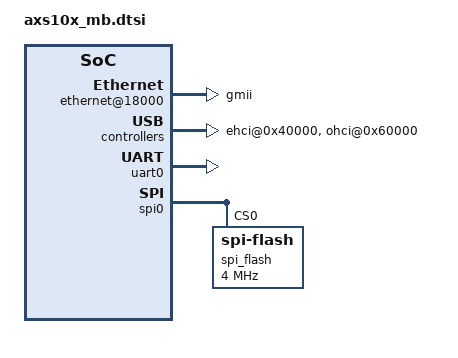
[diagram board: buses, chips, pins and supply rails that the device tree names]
// SPDX-License-Identifier: GPL-2.0+
/*
 * Copyright (C) 2017 Synopsys, Inc. All rights reserved.
 */

/ {
	aliases {
		spi0 = &spi0;
	};

	axs10x_mb@e0000000 {
		compatible = "simple-bus";
		#address-cells = <1>;
		#size-cells = <1>;
		ranges = <0x00000000 0xe0000000 0x10000000>;
		u-boot,dm-pre-reloc;

		clocks {
			compatible = "simple-bus";
			u-boot,dm-pre-reloc;

			apbclk: apbclk {
				compatible = "fixed-clock";
				clock-frequency = <50000000>;
				#clock-cells = <0>;
			};

			uartclk: uartclk {
				compatible = "fixed-clock";
				clock-frequency = <33333333>;
				#clock-cells = <0>;
				u-boot,dm-pre-reloc;
			};
		};

		ethernet@18000 {
			compatible = "altr,socfpga-stmmac";
			reg = < 0x18000 0x2000 >;
			phy-mode = "gmii";
			snps,pbl = < 32 >;
			clocks = <&apbclk>;
			clock-names = "stmmaceth";
			max-speed = <100>;
		};

		ehci@0x40000 {
			compatible = "generic-ehci";
			reg = < 0x40000 0x100 >;
		};

		ohci@0x60000 {
			compatible = "generic-ohci";
			reg = < 0x60000 0x100 >;
		};

		uart0: serial0@22000 {
			compatible = "snps,dw-apb-uart";
			reg = <0x22000 0x100>;
			clocks = <&uartclk>;
			reg-shift = <2>;
			reg-io-width = <4>;
		};

		spi0: spi@0 {
			compatible = "snps,dw-apb-ssi";
			reg = <0x0 0x100>;
			#address-cells = <1>;
			#size-cells = <0>;
			spi-max-frequency = <4000000>;
			clocks = <&apbclk>;
			clock-names = "spi_clk";
			cs-gpio = <&cs_gpio 0>;
			spi_flash@0 {
				compatible = "spi-flash";
				reg = <0>;
				spi-max-frequency = <4000000>;
			};
		};

		cs_gpio: gpio@11218 {
			compatible = "snps,creg-gpio";
			reg = <0x11218 0x4>;
			gpio-controller;
			#gpio-cells = <1>;
			gpio-bank-name = "axs-spi-cs";
			gpio-count = <1>;
			gpio-first-shift = <0>;
			gpio-bit-per-line = <2>;
			gpio-activate-val = <1>;
			gpio-deactivate-val = <3>;
			gpio-default-val = <1>;
		};
	};
};
